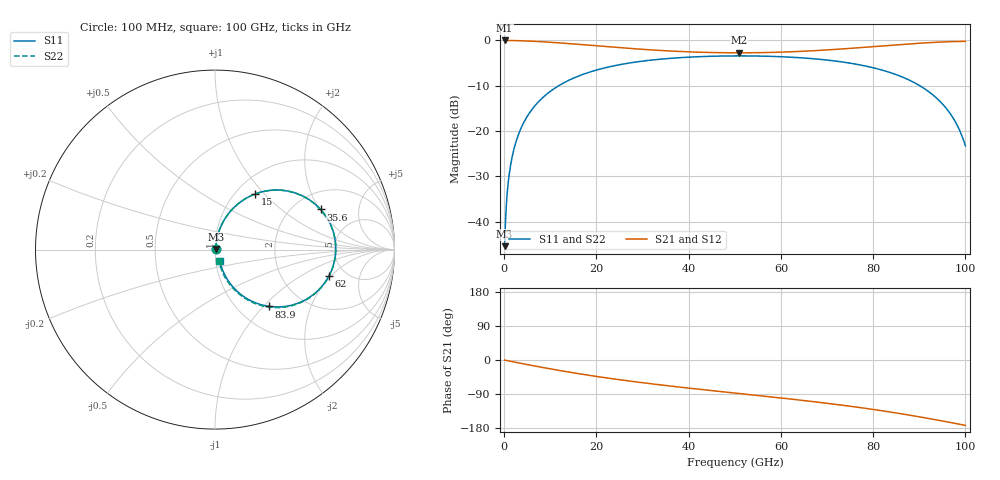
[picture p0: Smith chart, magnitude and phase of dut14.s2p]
! Touchstone file exported from HFSS 2026.1.0
!  File:  C:/ffzhzh/LocalFiles/Ansys_Project_Files/temp_train_RDL_14_1783497690_9504.aedt
!  Generated:  04:02:53 PM Jul  8, 2026
!  Design:  RDL
!  Project:  temp_train_RDL_14_1783497690_9504
! Variables:
!  h_bsmrdl = 2um
!  h_ox = 20um
!  h_rdl = 5um
!  h_sub = 80um
!  h_tmrdl = 4.11um
!  h_tsv = 80um
!  h_via = 3um
!  l_bsmrdl = 300um
!  l_sub = 991.37um
!  l_tmrdl = 591.37um
!  m_sub = 200um
!  pitch = 43.29um
!  r_tsv = 6um
!  s_tmrdl = 10um
!  w_bsmrdl = 18um
!  w_sub = 500um
!  w_tmrdl = 11.77um
!  x_tsv_center1 = 597.255um
!  x_tsv_center2 = 915.255um
!  x_tsv_center3 = 1518.395um
!  x_tsv_center4 = 1836.395um
!  x_tsv_center5 = 2439.535um
!  x_tsv_center6 = 2757.535um
# GHz S MA R 50.000000
! Terminal data exported
! Port[1] = TM_RDL1_1_T1
! Port[2] = TM_RDL1_1_T2
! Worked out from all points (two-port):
!   1000 points, 100 MHz to 100 GHz, reference 50 ohm
!   highest |S21| = -0.04 dB at 100 MHz (marker M1); lowest = -2.8 dB at 50.9 GHz (marker M2)
!   |S21| within 3 dB of the highest: start of sweep to end of sweep
!   lowest |S11| = -45.4 dB at 100 MHz (marker M3), VSWR 1.01, Z = 50.4 + j0.31 ohm
!   |S11| at or under -10 dB: start of sweep to 11.88 GHz; 90.07 GHz to end of sweep
!   |S22| runs from -45.4 to -3.4 dB; largest |S21 - S12| = 1.8e-14
!   S11 on the Smith chart (normalised r, x): 100 MHz: 1.01, +0.01; 15 GHz: 1.22, +0.88; 35.6 GHz: 2.75, +2.04; 62 GHz: 3.71, -1.90; 83.9 GHz: 1.38, -1.08; 100 GHz: 1.05, -0.13
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0.1  0.005349 35.0  0.9956 -0.3  0.9956 -0.3  0.005349 35.0
! Gamma 0 0 0 0
! Port Impedance 50 0 50 0
0.9  0.02741 77.4  0.9947 -2.2  0.9947 -2.2  0.02741 77.4
1.4  0.04194 79.5  0.994 -3.4  0.994 -3.4  0.04194 79.5
2.4  0.071 79.6  0.9918 -5.9  0.9918 -5.9  0.071 79.6
3.7  0.1083 77.6  0.9876 -9.0  0.9876 -9.0  0.1083 77.6
5.6  0.161 73.7  0.9791 -13.5  0.9791 -13.5  0.161 73.7
8.1  0.2265 68.4  0.9643 -19.2  0.9643 -19.2  0.2265 68.4
15  0.3815 54.3  0.9116 -33.8  0.9116 -33.8  0.3815 54.2
16.8  0.4154 50.9  0.8964 -37.4  0.8964 -37.4  0.4154 50.8
24.3  0.5289 37.7  0.8347 -50.9  0.8347 -50.9  0.5289 37.6
33.4  0.6155 23.9  0.7745 -65.0  0.7745 -65.0  0.6155 23.7
35.6  0.6296 20.8  0.7634 -68.2  0.7634 -68.2  0.6296 20.7
50.1  0.6727 2.1  0.7273 -87.3  0.7273 -87.3  0.6727 1.8
50.9  0.6728 1.1  0.7272 -88.4  0.7272 -88.4  0.6728 0.8
62  0.6514 -13.1  0.746 -102.9  0.746 -102.9  0.6514 -13.4
66.7  0.6278 -19.4  0.7651 -109.4  0.7651 -109.4  0.6278 -19.8
83.4  0.4454 -45.5  0.8779 -136.7  0.8779 -136.7  0.4453 -46.2
83.9  0.4369 -46.4  0.8819 -137.6  0.8819 -137.6  0.4368 -47.1
89.6  0.3264 -56.9  0.9254 -149.1  0.9254 -149.1  0.3262 -57.8
94.1  0.2216 -64.9  0.9534 -158.9  0.9534 -158.9  0.2214 -66.3
97.4  0.1372 -69.4  0.9675 -166.4  0.9675 -166.4  0.1367 -71.4
100  0.06846 -67.3  0.9737 -172.4  0.9737 -172.4  0.06738 -71.3
